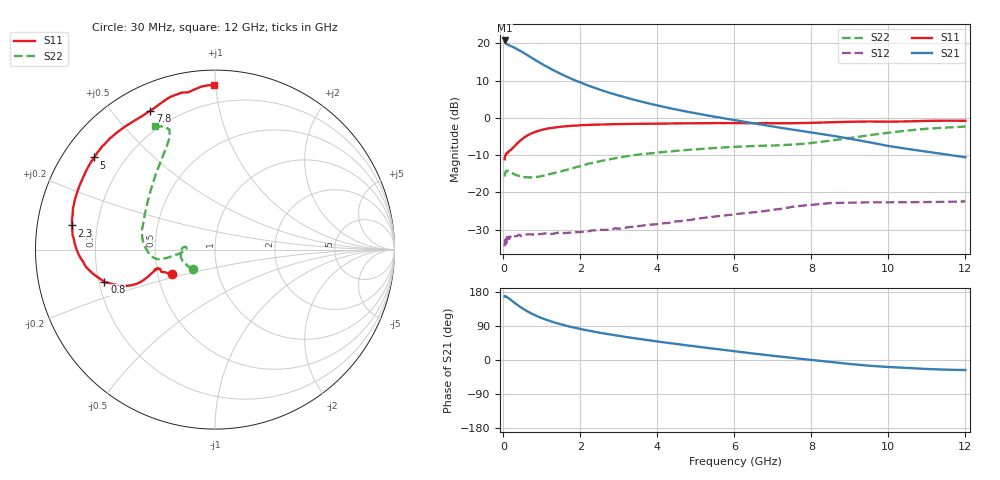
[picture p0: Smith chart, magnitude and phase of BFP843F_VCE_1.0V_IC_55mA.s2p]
! Infineon Technologies  Discrete & RF Semiconductors
! BFP843F
! VCE =  1.0 V,  IC =  55 mA
! Common Emitter S-Parameters:  Aug 2013
# GHz  S  MA  R  50
!  f  S11  S21  S12  S22
! GHz  MAG  ANG  MAG  ANG  MAG  ANG  MAG  ANG
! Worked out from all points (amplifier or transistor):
!   103 points, 30 MHz to 12 GHz, reference 50 ohm
!   highest |S21| = 20.8 dB at 30 MHz (marker M1)
!   |S21| within 3 dB of that: start of sweep to 469.8 MHz
!   unconditionally stable (mu >= 1): start of sweep to end of sweep
!   at 400 MHz: K = 1.88, MAG = 19.4 dB, |S12| = -31.4 dB
!   at 3.7 GHz: K = 2.40, MAG = 9.8 dB, |S12| = -28.8 dB
!   at 12 GHz: K = 2.07, MAG = 0.0 dB, |S12| = -22.4 dB
!   S11 on the Smith chart (normalised r, x): 30 MHz: 0.59, -0.18; 800 MHz: 0.22, -0.14; 2.3 GHz: 0.11, +0.08; 5 GHz: 0.09, +0.33; 7.8 GHz: 0.11, +0.63; 12 GHz: 0.09, +0.99
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0.03  0.2781 -150.3  10.93 167.2  0.019 23.3  0.1635 -139.6
0.04  0.3018 -154.9  10.47 166.8  0.0224 23.0  0.1792 -149.9
0.05  0.3108 -156.2  10.15 168.0  0.0219 33.9  0.182 -157.0
0.07  0.3241 -160.7  9.861 167.3  0.0205 15.2  0.1924 -163.7
0.11  0.3456 -161.5  9.6 164.8  0.026 17.9  0.1948 -173.7
0.3  0.4232 -157.2  8.675 150.0  0.0258 9.5  0.1729 175.4
0.45  0.5021 -156.8  7.845 139.2  0.026 9.4  0.1633 175.0
0.6  0.5718 -159.5  7.054 129.7  0.0273 10.4  0.16 176.3
0.8  0.6416 -163.8  6.091 119.2  0.0272 10.9  0.1601 179.2
1  0.6911 -168.6  5.292 110.4  0.0278 11.0  0.1661 -179.1
1.3  0.7382 -174.8  4.35 99.8  0.0279 14.3  0.1811 -176.1
1.7  0.7777 178.5  3.467 88.7  0.0288 17.3  0.2044 -173.5
2.1  0.8005 172.8  2.848 79.7  0.0299 20.4  0.2331 -171.8
2.3  0.8078 170.4  2.605 75.8  0.0309 20.7  0.247 -171.1
3.2  0.8285 160.4  1.862 60.4  0.0338 26.9  0.3058 -170.1
4.1  0.8383 151.2  1.43 47.5  0.0382 31.2  0.3457 -172.7
5  0.8473 142.7  1.152 35.7  0.0442 33.7  0.3784 -179.2
6.1  0.8515 132.4  0.917 21.9  0.0516 32.8  0.4105 170.5
7.8  0.8535 115.0  0.66 2.4  0.0667 29.7  0.4493 147.9
8.5  0.8731 109.5  0.581 -5.2  0.072 24.4  0.4948 135.6
10.5  0.8971 97.8  0.383 -21.0  0.0738 15.3  0.6763 111.9
12  0.9152 90.2  0.296 -26.5  0.0757 14.8  0.7649 116.1
